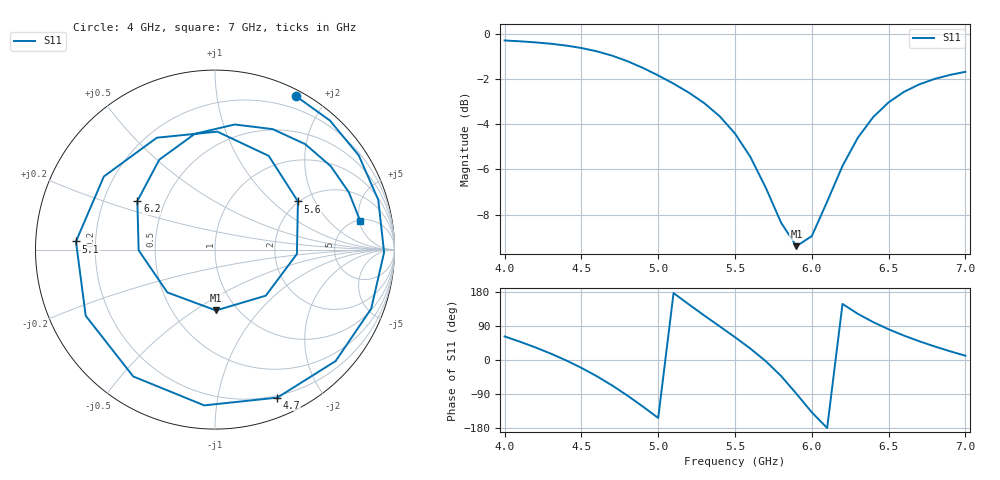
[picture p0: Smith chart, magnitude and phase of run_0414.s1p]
! Touchstone file exported from HFSS 2024.2.0
!  File:  C:/Users/wsak9/Desktop/Sim Fast/Widenad Patch/WP_AI_V1_sweep.aedt
!  Generated:  08:52:37 AM Oct 14, 2026
!  Design:  A1_model
!  Project:  WP_AI_V1_sweep
!  Setup:  Setup1
!  Solution:  Sweep
! Variables:
!  Air_gap = 2.41mm
!  Curve_Amp1 = 0.82
!  Curve_len1 = 1
!  Curve_pos = 10.44mm
!  Extra = 3.24mm
!  H_sub = 0.79mm
!  L_Patch = 16.88mm
!  L_Patch1 = 11.89mm
!  Sx = 1.24mm
!  Sy = 2.05mm
!  WS = 0.54mm
!  W_Patch = 11.19mm
!  W_Patch1 = 8.65mm
!Data is not renormalized
# GHz S MA
! Terminal data exported
! Port[1] = 1
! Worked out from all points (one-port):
!   31 points, 4 GHz to 7 GHz, reference per port
!   lowest |S11| = -9.4 dB at 5.9 GHz (marker M1), VSWR 2.03
!   |S11| at or under -10 dB: nowhere
!   S11 on the Smith chart (normalised r, x): 4 GHz: 0.06, +1.65; 4.7 GHz: 0.18, -1.49; 5.1 GHz: 0.13, +0.03; 5.6 GHz: 1.98, +1.49; 6.2 GHz: 0.35, +0.25; 7 GHz: 5.14, +5.14
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4  0.967 62.3
4.2  0.9576 33.3
4.3  0.951 17.0
4.4  0.9422 -0.9
4.5  0.9305 -20.7
4.6  0.915 -42.7
4.7  0.8949 -67.2
4.8  0.87 -94.0
4.9  0.8409 -122.8
5  0.8092 -152.9
5.1  0.776 176.6
5.2  0.7411 146.7
5.3  0.7026 117.5
5.4  0.6573 88.9
5.5  0.6019 60.2
5.6  0.5344 30.2
5.7  0.457 -3.0
5.8  0.3823 -42.2
5.9  0.3391 -89.1
6  0.3569 -138.0
6.1  0.4255 -179.5
6.2  0.5103 148.0
6.3  0.5893 121.8
6.4  0.6546 99.9
6.5  0.7055 81.1
6.7  0.7732 49.4
6.8  0.795 35.8
7  0.8242 11.2
